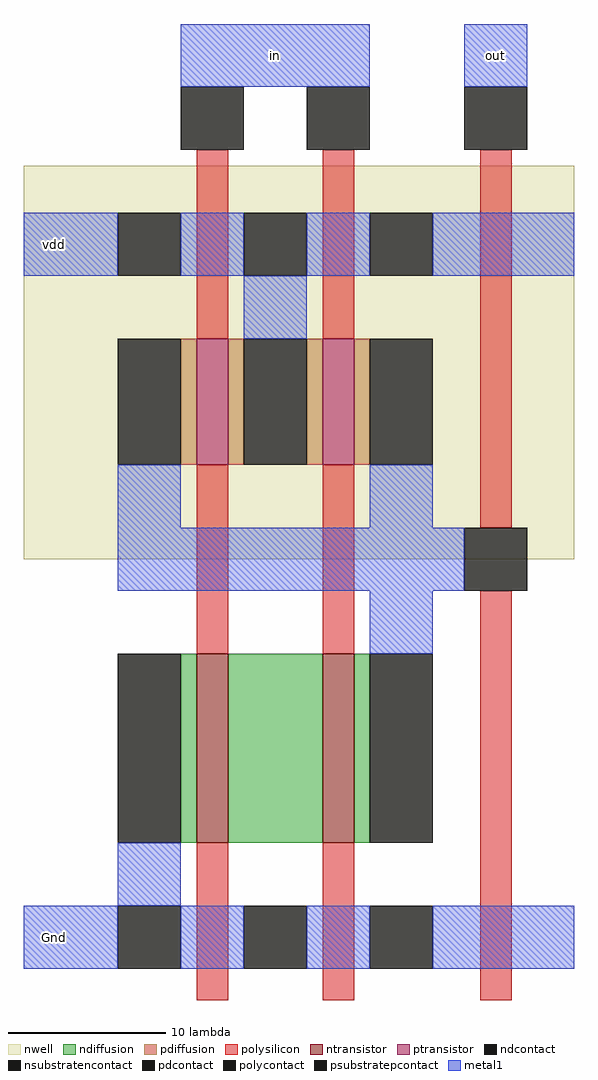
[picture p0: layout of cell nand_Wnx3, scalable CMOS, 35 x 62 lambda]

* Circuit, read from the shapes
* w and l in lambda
.subckt nand_Wnx3 Gnd in out vdd
M1 n1 in Gnd Gnd nfet w=12 l=2
M2 out in n1 Gnd nfet w=12 l=2
M3 vdd in out vdd pfet w=8 l=2 m=2
.ends

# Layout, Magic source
magic
tech scmos
<< nwell >>
rect -14 1 21 26
<< ntransistor >>
rect -3 -17 -1 -5
rect 5 -17 7 -5
<< ptransistor >>
rect -3 7 -1 15
rect 5 7 7 15
<< ndiffusion >>
rect -4 -17 -3 -5
rect -1 -17 5 -5
rect 7 -17 8 -5
<< pdiffusion >>
rect -4 7 -3 15
rect -1 7 0 15
rect 4 7 5 15
rect 7 7 8 15
<< ndcontact >>
rect -8 -17 -4 -5
rect 8 -17 12 -5
<< pdcontact >>
rect -8 7 -4 15
rect 0 7 4 15
rect 8 7 12 15
<< psubstratepcontact >>
rect -8 -25 -4 -21
rect 0 -25 4 -21
rect 8 -25 12 -21
<< nsubstratencontact >>
rect -8 19 -4 23
rect 0 19 4 23
rect 8 19 12 23
<< polysilicon >>
rect -3 15 -1 27
rect 5 15 7 27
rect -3 -5 -1 7
rect 5 -5 7 7
rect 15 3 17 27
rect -3 -27 -1 -17
rect 5 -27 7 -17
rect 15 -27 17 -1
<< polycontact >>
rect -4 27 0 31
rect 4 27 8 31
rect 14 27 18 31
rect 14 -1 18 3
<< metal1 >>
rect -4 31 8 35
rect 14 31 18 35
rect -14 19 -8 23
rect -4 19 0 23
rect 4 19 8 23
rect 12 19 21 23
rect 0 15 4 19
rect -8 3 -4 7
rect 8 3 12 7
rect -8 -1 14 3
rect 8 -5 12 -1
rect -8 -21 -4 -17
rect -14 -25 -8 -21
rect -4 -25 0 -21
rect 4 -25 8 -21
rect 12 -25 21 -21
<< labels >>
rlabel metal1 14 31 18 35 6 out
rlabel metal1 0 31 4 35 5 in
rlabel metal1 -14 19 -10 23 3 vdd
rlabel metal1 -14 -25 -10 -21 2 Gnd
<< end >>
